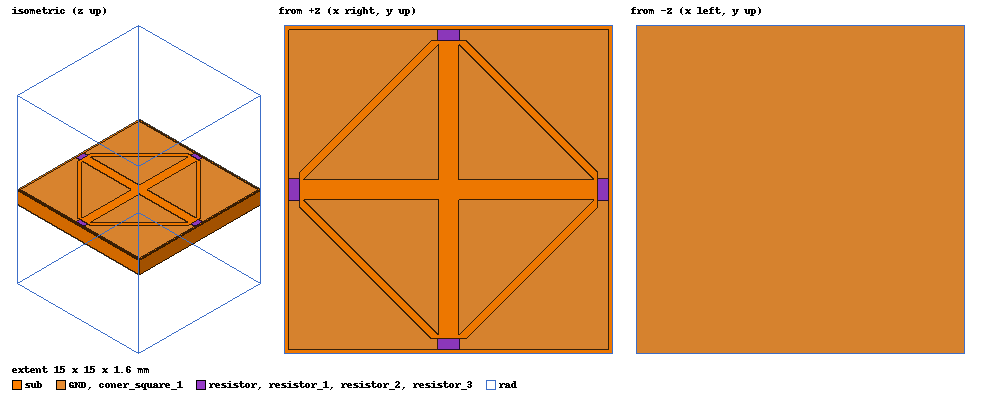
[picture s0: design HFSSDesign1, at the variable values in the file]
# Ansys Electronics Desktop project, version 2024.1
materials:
  vacuum: permittivity=1
  FR4_epoxy: permittivity=4.4 dielectric_loss_tangent=0.02
  air: permittivity=1.0006 permeability=1.0000004

design HFSSDesign1 (HFSS, HFSS Modal Network, model units mm)
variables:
  sub_l = 15mm
  sub_w = 15mm
  sub_h = 1.6mm
  a = 6.575mm
  rad_h = 20mm
  res_l = 1mm
  resistance = 300ohm
  res_w = 0.5mm
  resistor_loc = a+conar_loc-res_w
  conar_loc = 0.75mm
  var = 0.1mm
  resistance1 = 0ohm
  inner_loc = 0.48mm
  inner_tri_len = a+conar_loc-inner_loc-res_w-cut_w
  chr_out = 5.2mm
  offfset = 0.3mm
  cut_w = 0.2mm
  scan = 0deg
  pol = 0deg
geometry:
  sub [FR4_epoxy] = box(corner=(-sub_l/2, -sub_w/2, 0mm), size=(sub_l, sub_w, -sub_h))
  GND = rectangle(corner=(-sub_l/2, -sub_w/2, -sub_h), x_size=sub_l, y_size=sub_w)
  rad [air] = box(corner=(-sub_l/2, -sub_w/2, rad_h/2), size=(sub_l, sub_w, -rad_h))
  resistor = rectangle(corner=(-res_l/2, resistor_loc, 0mm), x_size=res_l, y_size=res_w)
  resistor_1, resistor_2, resistor_3 = resistor.duplicate_around_axis(axis=Z, angle=90deg, total=4)
  coner_square = rectangle(corner=(conar_loc, conar_loc, 0mm), x_size=a, y_size=a)
  resistor_ext = rectangle(corner=(conar_loc, resistor_loc, 0mm), x_size=-(conar_loc-res_l/2), y_size=res_w)
  resistor_ext1 = rectangle(corner=(resistor_loc, conar_loc, 0mm), x_size=res_w, y_size=-(conar_loc-res_l/2))
  coner_square.unite(resistor_ext, resistor_ext1)
  coner_square_1, coner_square_2, coner_square_3 = coner_square.duplicate_around_axis(axis=Z, angle=90deg, total=4)
  coner_square_1.unite(coner_square, coner_square_3, coner_square_2)
  coner_cuts = rectangle(corner=(conar_loc, conar_loc, 0mm), x_size=resistor_loc-conar_loc, y_size=resistor_loc-conar_loc)
  Rectangle1_1, Rectangle1_2, Rectangle1_3 = coner_cuts.duplicate_around_axis(axis=Z, angle=90deg, total=4)
  coner_cuts.unite(Rectangle1_1, Rectangle1_2, Rectangle1_3)
  coner_square_1.subtract(coner_cuts)
  outer_tri = polyline((conar_loc+a-res_w, conar_loc+a-res_w, 0mm) (res_l/2+offfset, conar_loc+a-res_w, 0mm))
  Polyline2 = polyline((conar_loc+a-res_w, conar_loc+a-res_w, 0mm) (conar_loc+a-res_w, res_l/2+offfset, 0mm))
  Polyline3 = polyline((res_l/2+offfset, conar_loc+a-res_w, 0mm) (conar_loc+a-res_w, res_l/2+offfset, 0mm))
  outer_tri.unite(Polyline2, Polyline3)
  outer_tri.cover_lines()
  Polyline1_1, Polyline1_2, Polyline1_3 = outer_tri.duplicate_around_axis(axis=Z, angle=90deg, total=4)
  outer_tri.unite(Polyline1_1, Polyline1_2, Polyline1_3)
  inner_tri = polyline(z=0mm, xy: (inner_loc, inner_loc) (inner_tri_len+inner_loc, inner_loc) (inner_loc, inner_tri_len+inner_loc) (inner_loc, inner_loc), closed, covered)
  Polyline4_1, Polyline4_2, Polyline4_3 = inner_tri.duplicate_around_axis(axis=Z, angle=90deg, total=4)
  inner_tri.unite(Polyline4_1, Polyline4_2, Polyline4_3)
  coner_square_1.unite(inner_tri, outer_tri)
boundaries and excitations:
  GND: Perfect E Objects=GND
  LatticePair1: Lattice Pair Faces=rad.face(+y, -y) CoordSysVector{(7.5, 7.5, 10) -> (7.5, 7.5, -10)} PhaseDelay=UseScanAngle Phi=pol Theta=scan
  LatticePair2: Lattice Pair Faces=rad.face(-x, +x) CoordSysVector{(-7.5, 7.5, 10) -> (-7.5, 7.5, -10)} ReverseV PhaseDelay=UseScanAngle Phi=pol Theta=scan
  LumpRLC1: Lumped RLC Objects=resistor CurrentLine{(-0.5, 7.075, 0) -> (0.5, 7.075, 0)} RLC_Type=Serial Resistance=resistance
  LumpRLC2: Lumped RLC Objects=resistor_1 CurrentLine{(-7.075, -0.5, 0) -> (-7.075, 0.5, 0)} RLC_Type=Serial Resistance=resistance
  LumpRLC3: Lumped RLC Objects=resistor_2 CurrentLine{(0.5, -7.075, 0) -> (-0.5, -7.075, 0)} RLC_Type=Serial Resistance=resistance
  LumpRLC4: Lumped RLC Objects=resistor_3 CurrentLine{(7.075, 0.5, 0) -> (7.075, -0.5, 0)} RLC_Type=Serial Resistance=resistance
  PerfE1: Perfect E Objects=coner_square_1
  FloquetPort1: Floquet Port Faces=rad.face(+z) NumModes=2 Modes{Mode1{CharImp=Zpi} Mode2{CharImp=Zpi}} PhaseDelay=UseScanAngle Phi=pol Theta=scan LatticeAVector{(0, 0, 10) -> (0mm, 1000mm, 10000mm)} LatticeBVector{(0, 0, 10) -> (1000mm, 0mm, 10000mm)} ModesList{Mode{ModeNumber=1 IndexM=0 IndexN=0 KC2=0 PropagationState=Propagating Attenuation=0 PolarizationState=TE AffectsRefinement} Mode{ModeNumber=2 IndexM=0 IndexN=0 KC2=0 PropagationState=Propagating Attenuation=0 PolarizationState=TM AffectsRefinement}}
  FloquetPort2: Floquet Port Faces=rad.face(-z) NumModes=2 Modes{Mode1{CharImp=Zpi} Mode2{CharImp=Zpi}} PhaseDelay=UseScanAngle Phi=pol Theta=scan LatticeAVector{(0, 0, -10) -> (0mm, 1000mm, -10000mm)} LatticeBVector{(0, 0, -10) -> (1000mm, 0mm, -10000mm)} ModesList{Mode{ModeNumber=1 IndexM=0 IndexN=0 KC2=0 PropagationState=Propagating Attenuation=0 PolarizationState=TE AffectsRefinement} Mode{ModeNumber=2 IndexM=0 IndexN=0 KC2=0 PropagationState=Propagating Attenuation=0 PolarizationState=TM AffectsRefinement}}
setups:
  Setup1: HfssDriven MultipleAdaptiveFreqsSetup{AdaptAt{Frequency=8.5GHz Delta=0.02} AdaptAt{Frequency=9.8GHz Delta=0.02}} MaximumPasses=15 MinimumPasses=1 MinimumConvergedPasses=1 PercentRefinement=30 BasisOrder=1 PortAccuracy=2 DrivenSolverType="Direct Solver"
    sweep Sweep: 7GHz to 11GHz, 1000 points; Type=Interpolating SaveFields InterpTolerance=0.5 InterpMaxSolns=250 InterpUsePortImped=false PassivityErrorTolerance=0.0001
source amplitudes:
  FloquetPort1:1: 1V 0deg
  FloquetPort1:2, FloquetPort2:1, FloquetPort2:2: 0V 0deg
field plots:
  current@8.5: Jsurf over coner_square_1.face(all 8) resistor_1.face resistor.face(at (0, 7.075, 0)) resistor_2.face resistor_3.face on Setup1 : LastAdaptive at Freq=8.5GHz Phase=0deg
  efield@8.5: E Field over coner_square_1.face(all 8) resistor_1.face resistor.face(at (0, 7.075, 0)) resistor_2.face resistor_3.face on Setup1 : LastAdaptive at Freq=8.5GHz Phase=0deg
  current @9.8: Jsurf over coner_square_1.face(all 8) resistor_1.face resistor.face(at (0, 7.075, 0)) resistor_2.face resistor_3.face on Setup1 : LastAdaptive at Freq=9.8GHz Phase=0deg
  Mag_E1: E Field over coner_square_1.face(all 8) resistor_1.face resistor.face(at (0, 7.075, 0)) resistor_2.face resistor_3.face on Setup1 : LastAdaptive at Freq=9.8GHz Phase=0deg
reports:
  Plot1: 1-mag(St(FloquetPort1:1,FloquetPort1:1))^2-mag(St(FloquetPort2:1,FloquetPort1:1))^2 vs Freq on Setup1 : Sweep; markers Fl at 7.8668669GHz, Fh at 10.101101GHz, 8Ghz at 8.003003GHz, 10Ghz at 9.996997GHz, Minima at 9.5005005GHz
  Plot2: 1-mag(St(FloquetPort1:1,FloquetPort1:1))^2-mag(St(FloquetPort2:1,FloquetPort1:1))^2 vs Freq on Setup1 : Sweep
  Terminal S Parameter Plot1: dB(St(FloquetPort1:1,FloquetPort1:1)) vs Freq on Setup1 : Sweep; markers MX1 at x=8.5074425e+09, MX2 at x=9.8037889e+09
  Plot 1: 1-mag(St(FloquetPort1:1,FloquetPort1:1))^2-mag(St(FloquetPort2:1,FloquetPort1:1))^2 vs Freq on Setup1 : Sweep [scan=all]
  S Parameter Plot 1: dB(S(FloquetPort1:1,FloquetPort1:1)) vs Freq on Setup1 : Sweep [pol=all]
  Plot 1: 1-mag(St(FloquetPort1:1,FloquetPort1:1))^2-mag(St(FloquetPort2:1,FloquetPort1:1))^2 vs Freq on Setup1 : Sweep [scan=all pol=all]
